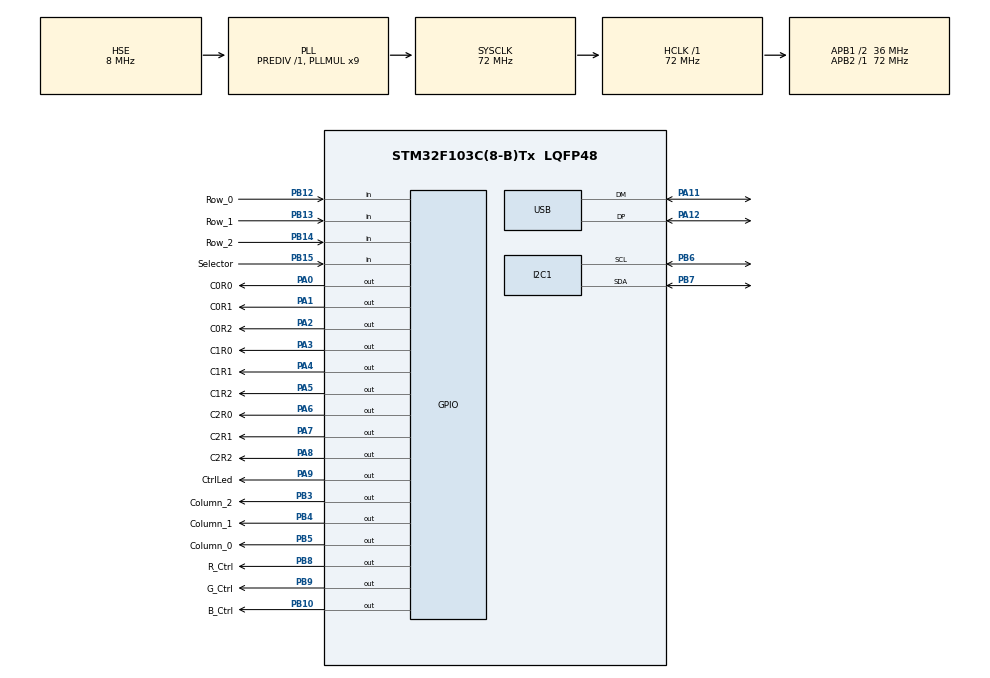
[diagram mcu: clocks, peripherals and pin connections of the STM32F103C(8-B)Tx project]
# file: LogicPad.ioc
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Mcu.Family=STM32F1
Mcu.Name=STM32F103C(8-B)Tx
Mcu.Package=LQFP48
NVIC.PriorityGroup=NVIC_PRIORITYGROUP_4
NVIC.USB_LP_CAN1_RX0_IRQn=true\:0\:0\:false\:false\:true\:false\:true\:true
PA0-WKUP.GPIO_Label=C0R0
PA0-WKUP.GPIO_PuPd=GPIO_PULLUP
PA0-WKUP.Signal=GPIO_Output
PA1.GPIO_Label=C0R1
PA1.GPIO_PuPd=GPIO_PULLUP
PA1.Signal=GPIO_Output
PA11.Mode=Device
PA11.Signal=USB_DM
PA12.Mode=Device
PA12.Signal=USB_DP
PA13.Mode=Serial_Wire
PA13.Signal=SYS_JTMS-SWDIO
PA14.Mode=Serial_Wire
PA14.Signal=SYS_JTCK-SWCLK
PA2.GPIO_Label=C0R2
PA2.GPIO_PuPd=GPIO_PULLUP
PA2.Signal=GPIO_Output
PA3.GPIO_Label=C1R0
PA3.GPIO_PuPd=GPIO_PULLUP
PA3.Signal=GPIO_Output
PA4.GPIO_Label=C1R1
PA4.GPIO_PuPd=GPIO_PULLUP
PA4.Signal=GPIO_Output
PA5.GPIO_Label=C1R2
PA5.GPIO_PuPd=GPIO_PULLUP
PA5.Signal=GPIO_Output
PA6.GPIO_Label=C2R0
PA6.GPIO_PuPd=GPIO_PULLUP
PA6.Signal=GPIO_Output
PA7.GPIO_Label=C2R1
PA7.GPIO_PuPd=GPIO_PULLUP
PA7.PinState=GPIO_PIN_RESET
PA7.Signal=GPIO_Output
PA8.GPIO_Label=C2R2
PA8.GPIO_PuPd=GPIO_PULLUP
PA8.Signal=GPIO_Output
PA9.GPIO_Label=CtrlLed
PA9.GPIO_PuPd=GPIO_PULLDOWN
PA9.Signal=GPIO_Output
PB10.GPIO_Label=B_Ctrl
PB10.GPIO_PuPd=GPIO_PULLDOWN
PB10.Signal=GPIO_Output
PB12.GPIO_Label=Row_0
PB12.GPIO_PuPd=GPIO_PULLUP
PB12.Signal=GPIO_Input
PB13.GPIO_Label=Row_1
PB13.GPIO_PuPd=GPIO_PULLUP
PB13.Signal=GPIO_Input
PB14.GPIO_Label=Row_2
PB14.GPIO_PuPd=GPIO_PULLUP
PB14.Signal=GPIO_Input
PB15.GPIO_Label=Selector
PB15.GPIO_PuPd=GPIO_PULLUP
PB15.Signal=GPIO_Input
PB3.GPIO_Label=Column_2
PB3.GPIO_PuPd=GPIO_NOPULL
PB3.Signal=GPIO_Output
PB4.GPIO_Label=Column_1
PB4.GPIO_PuPd=GPIO_NOPULL
PB4.Signal=GPIO_Output
PB5.GPIO_Label=Column_0
PB5.GPIO_PuPd=GPIO_NOPULL
PB5.Signal=GPIO_Output
PB6.Mode=I2C
PB6.Signal=I2C1_SCL
PB7.Mode=I2C
PB7.Signal=I2C1_SDA
PB8.GPIO_Label=R_Ctrl
PB8.GPIO_PuPd=GPIO_PULLDOWN
PB8.PinState=GPIO_PIN_RESET
PB8.Signal=GPIO_Output
PB9.GPIO_Label=G_Ctrl
PB9.GPIO_PuPd=GPIO_PULLDOWN
PB9.Signal=GPIO_Output
PD0-OSC_IN.Mode=HSE-External-Oscillator
PD0-OSC_IN.Signal=RCC_OSC_IN
PD1-OSC_OUT.Mode=HSE-External-Oscillator
PD1-OSC_OUT.Signal=RCC_OSC_OUT
ProjectManager.HeapSize=0x200
ProjectManager.StackSize=0x400
ProjectManager.TargetToolchain=CMake
RCC.AHBFreq_Value=72000000
RCC.APB1CLKDivider=RCC_HCLK_DIV2
RCC.APB1Freq_Value=36000000
RCC.APB1TimFreq_Value=72000000
RCC.APB2Freq_Value=72000000
RCC.APB2TimFreq_Value=72000000
RCC.HCLKFreq_Value=72000000
RCC.PLLMUL=RCC_PLL_MUL9
RCC.PLLSourceVirtual=RCC_PLLSOURCE_HSE
RCC.SYSCLKFreq_VALUE=72000000
RCC.SYSCLKSource=RCC_SYSCLKSOURCE_PLLCLK
RCC.USBFreq_Value=48000000
RCC.USBPrescaler=RCC_USBCLKSOURCE_PLL_DIV1_5
USB_DEVICE.CLASS_NAME_FS=CUSTOM_HID
USB_DEVICE.USBD_MAX_STR_DESC_SIZ=128
USB_DEVICE.VirtualMode=CustomHid
USB_DEVICE.VirtualModeFS=Custom_Hid_FS
VP_USB_DEVICE_VS_USB_DEVICE_CUSTOM_HID_FS.Mode=CUSTOM_HID_FS
board=custom

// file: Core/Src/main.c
/* USER CODE BEGIN Header */
/**
  ******************************************************************************
  * @file           : main.c
  * @brief          : Main program body
  ******************************************************************************
  * @attention
  *
  * Copyright (c) 2025 STMicroelectronics.
  * All rights reserved.
  *
  * This software is licensed under terms that can be found in the LICENSE file
  * in the root directory of this software component.
  * If no LICENSE file comes with this software, it is provided AS-IS.
  *
  ******************************************************************************
  */
/* USER CODE END Header */
#include "main.h"
#include "i2c.h"
#include "usb_device.h"
#include "gpio.h"

/* USER CODE BEGIN Includes */
#include "keypad.h"
#include "storage.h"
#include "hid_reports.h"
#include "macro.h"
#include "led_mux.h"
#include "ui.h"
#include "clock.h"
/* USER CODE END Includes */

void SystemClock_Config(void);

int main(void)
{

  /* USER CODE BEGIN 1 */
  /* Bootloader jump_app() leaves PRIMASK set. SysTick/USB/TIM2 never run
   * until this, and ssd1306_Init()'s HAL_Delay(80) would hang forever. */
  SCB->VTOR = 0x08001000U;
  __enable_irq();
  /* USER CODE END 1 */

  /* MCU Configuration--------------------------------------------------------*/

  /* Reset of all peripherals, Initializes the Flash interface and the Systick. */
  HAL_Init();

  /* Configure the system clock */
  SystemClock_Config();

  /* Initialize all configured peripherals */
  MX_GPIO_Init();
  MX_I2C1_Init();
  MX_USB_DEVICE_Init();
  /* USER CODE BEGIN 2 */
  keypad_init();
  storage_init();
  clock_init();
  hid_init();
  led_mux_init();
  macro_init();
  ui_init();
  /* USER CODE END 2 */

  /* Infinite loop */
      while (1)
  {
  /* USER CODE BEGIN WHILE */
    static uint32_t last_ms;
    static uint8_t tick_synced;
    uint32_t now = HAL_GetTick();
    if (!tick_synced) {
      last_ms = now;
      tick_synced = 1;
    }
    uint16_t steps = 0;
    while (last_ms != now) {
      last_ms++;
      ui_tick();
      if (steps < 1000) {
        steps++;
      }
      now = HAL_GetTick();
    }
    if (steps) {
      hid_tick();
      macro_tick(steps);
    }
    if ((hid_key_evt_pending() || macro_busy()) && hid_configured()) {
      /* Clock/OLED I2C is ~25 ms blocking; don't pace HID behind it. */
      if (hid_in_ready()) {
        if (hid_key_evt_pending()) {
          hid_tick();
        } else {
          macro_tick(0);
        }
      }
    } else {
      ui_draw_if_needed();
    }
    /* USER CODE END WHILE */

  }
}

void SystemClock_Config(void)
{
  RCC_OscInitTypeDef RCC_OscInitStruct = {0};
  RCC_ClkInitTypeDef RCC_ClkInitStruct = {0};
  RCC_PeriphCLKInitTypeDef PeriphClkInit = {0};

  /** Initializes the RCC Oscillators according to the specified parameters
  * in the RCC_OscInitTypeDef structure.
  */
  RCC_OscInitStruct.OscillatorType = RCC_OSCILLATORTYPE_HSE;
  RCC_OscInitStruct.HSEState = RCC_HSE_ON;
  RCC_OscInitStruct.HSEPredivValue = RCC_HSE_PREDIV_DIV1;
  RCC_OscInitStruct.HSIState = RCC_HSI_ON;
  RCC_OscInitStruct.PLL.PLLState = RCC_PLL_ON;
  RCC_OscInitStruct.PLL.PLLSource = RCC_PLLSOURCE_HSE;
  RCC_OscInitStruct.PLL.PLLMUL = RCC_PLL_MUL9;
  if (HAL_RCC_OscConfig(&RCC_OscInitStruct) != HAL_OK)
  {
    Error_Handler();
  }

  /** Initializes the CPU, AHB and APB buses clocks
  */
  RCC_ClkInitStruct.ClockType = RCC_CLOCKTYPE_HCLK|RCC_CLOCKTYPE_SYSCLK
                              |RCC_CLOCKTYPE_PCLK1|RCC_CLOCKTYPE_PCLK2;
  RCC_ClkInitStruct.SYSCLKSource = RCC_SYSCLKSOURCE_PLLCLK;
  RCC_ClkInitStruct.AHBCLKDivider = RCC_SYSCLK_DIV1;
  RCC_ClkInitStruct.APB1CLKDivider = RCC_HCLK_DIV2;
  RCC_ClkInitStruct.APB2CLKDivider = RCC_HCLK_DIV1;

  if (HAL_RCC_ClockConfig(&RCC_ClkInitStruct, FLASH_LATENCY_2) != HAL_OK)
  {
    Error_Handler();
  }
  PeriphClkInit.PeriphClockSelection = RCC_PERIPHCLK_USB;
  PeriphClkInit.UsbClockSelection = RCC_USBCLKSOURCE_PLL_DIV1_5;
  if (HAL_RCCEx_PeriphCLKConfig(&PeriphClkInit) != HAL_OK)
  {
    Error_Handler();
  }
}

void Error_Handler(void)
{
  /* USER CODE BEGIN Error_Handler_Debug */
  /* Blink key 0 red (PA0 anode low, PB8 sink high) so a clock/USB hang is visible. */
  __disable_irq();
  RCC->APB2ENR |= RCC_APB2ENR_IOPAEN | RCC_APB2ENR_IOPBEN;
  GPIOA->CRL = (GPIOA->CRL & ~0xFu) | 0x1u;
  GPIOB->CRH = (GPIOB->CRH & ~0xFu) | 0x1u;
  GPIOA->BRR = GPIO_PIN_0;
  while (1)
  {
    GPIOB->BSRR = GPIO_PIN_8;
    for (volatile uint32_t i = 0; i < 200000u; i++) {
    }
    GPIOB->BRR = GPIO_PIN_8;
    for (volatile uint32_t i = 0; i < 200000u; i++) {
    }
  }
  /* USER CODE END Error_Handler_Debug */
}
